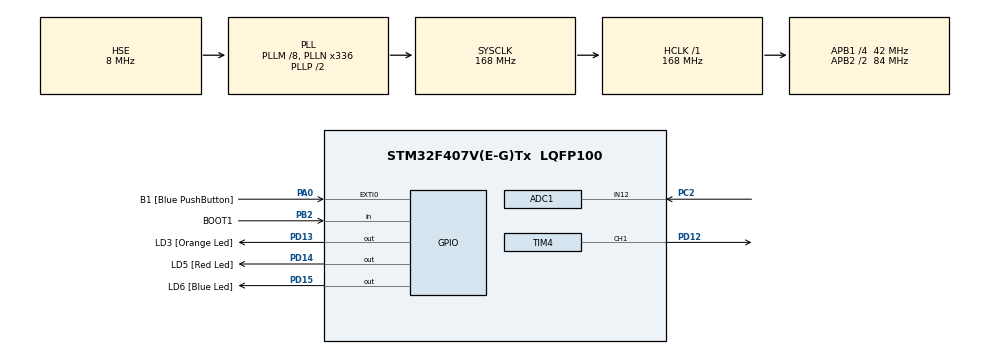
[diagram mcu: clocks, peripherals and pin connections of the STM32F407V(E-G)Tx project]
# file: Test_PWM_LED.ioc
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ADC1.Channel-0\#ChannelRegularConversion=ADC_CHANNEL_12
ADC1.NbrOfConversionFlag=1
ADC1.Rank-0\#ChannelRegularConversion=1
ADC1.SamplingTime-0\#ChannelRegularConversion=ADC_SAMPLETIME_3CYCLES
ADC1.master=1
Mcu.Family=STM32F4
Mcu.Name=STM32F407V(E-G)Tx
Mcu.Package=LQFP100
NVIC.PriorityGroup=NVIC_PRIORITYGROUP_0
NVIC.TIM1_UP_TIM10_IRQn=true\:0\:0\:false\:false\:true\:true\:true\:true
PA0-WKUP.GPIO_Label=B1 [Blue PushButton]
PA0-WKUP.GPIO_ModeDefaultEXTI=GPIO_MODE_EVT_RISING
PA0-WKUP.GPIO_PuPd=GPIO_NOPULL
PA0-WKUP.Signal=GPXTI0
PB2.GPIO_Label=BOOT1
PB2.GPIO_Mode=GPIO_MODE_INPUT
PB2.GPIO_PuPd=GPIO_NOPULL
PB2.Signal=GPIO_Input
PC14-OSC32_IN.GPIO_Label=PC14-OSC32_IN
PC14-OSC32_IN.Mode=LSE-External-Oscillator
PC14-OSC32_IN.Signal=RCC_OSC32_IN
PC15-OSC32_OUT.GPIO_Label=PC15-OSC32_OUT
PC15-OSC32_OUT.Mode=LSE-External-Oscillator
PC15-OSC32_OUT.Signal=RCC_OSC32_OUT
PC2.Signal=ADCx_IN12
PD12.Signal=S_TIM4_CH1
PD13.GPIO_Label=LD3 [Orange Led]
PD13.GPIO_PuPd=GPIO_NOPULL
PD13.GPIO_Speed=GPIO_SPEED_FREQ_LOW
PD13.Signal=GPIO_Output
PD14.GPIO_Label=LD5 [Red Led]
PD14.GPIO_PuPd=GPIO_NOPULL
PD14.GPIO_Speed=GPIO_SPEED_FREQ_LOW
PD14.Signal=GPIO_Output
PD15.GPIO_Label=LD6 [Blue Led]
PD15.GPIO_PuPd=GPIO_NOPULL
PD15.GPIO_Speed=GPIO_SPEED_FREQ_LOW
PD15.Signal=GPIO_Output
PH0-OSC_IN.GPIO_Label=PH0-OSC_IN
PH0-OSC_IN.Mode=HSE-External-Oscillator
PH0-OSC_IN.Signal=RCC_OSC_IN
PH1-OSC_OUT.GPIO_Label=PH1-OSC_OUT
PH1-OSC_OUT.Mode=HSE-External-Oscillator
PH1-OSC_OUT.Signal=RCC_OSC_OUT
ProjectManager.HeapSize=0x200
ProjectManager.StackSize=0x400
ProjectManager.TargetToolchain=STM32CubeIDE
RCC.48MHZClocksFreq_Value=48000000
RCC.AHBFreq_Value=168000000
RCC.APB1CLKDivider=RCC_HCLK_DIV4
RCC.APB1Freq_Value=42000000
RCC.APB1TimFreq_Value=84000000
RCC.APB2CLKDivider=RCC_HCLK_DIV2
RCC.APB2Freq_Value=84000000
RCC.APB2TimFreq_Value=168000000
RCC.CortexFreq_Value=168000000
RCC.HCLKFreq_Value=168000000
RCC.HSE_VALUE=8000000
RCC.HSI_VALUE=16000000
RCC.PLLM=8
RCC.PLLN=336
RCC.PLLQ=7
RCC.PLLSourceVirtual=RCC_PLLSOURCE_HSE
RCC.SYSCLKFreq_VALUE=168000000
RCC.SYSCLKSource=RCC_SYSCLKSOURCE_PLLCLK
RCC.VCOOutputFreq_Value=336000000
SH.ADCx_IN12.0=ADC1_IN12,IN12
SH.S_TIM4_CH1.0=TIM4_CH1,PWM Generation1 CH1
TIM1.Period=65535
TIM1.Prescaler=0
TIM4.Channel-PWM\ Generation1\ CH1=TIM_CHANNEL_1
TIM4.Period=999
TIM4.Prescaler=71
TIM4.Pulse-PWM\ Generation1\ CH1=499
VP_TIM1_VS_ClockSourceINT.Mode=Internal
VP_TIM4_VS_ClockSourceINT.Mode=Internal
board=STM32F407G-DISC1

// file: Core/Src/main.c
/* USER CODE BEGIN Header */
/**
  ******************************************************************************
  * @file           : main.c
  * @brief          : Main program body
  ******************************************************************************
  * @attention
  *
  * Copyright (c) 2023 STMicroelectronics.
  * All rights reserved.
  *
  * This software is licensed under terms that can be found in the LICENSE file
  * in the root directory of this software component.
  * If no LICENSE file comes with this software, it is provided AS-IS.
  *
  ******************************************************************************
  */
/* USER CODE END Header */
#include "main.h"

ADC_HandleTypeDef hadc1;

TIM_HandleTypeDef htim1;
TIM_HandleTypeDef htim4;

void SystemClock_Config(void);
static void MX_GPIO_Init(void);
static void MX_TIM1_Init(void);
static void MX_TIM4_Init(void);
static void MX_ADC1_Init(void);

/* USER CODE BEGIN 0 */
void delay_us (uint16_t us) //warning: this function is not reentrant
{
	__HAL_TIM_SET_COUNTER(&htim1,0); //reset the timer counter
	HAL_TIM_Base_Start(&htim1); //start the timer
	while (__HAL_TIM_GET_COUNTER(&htim1) < us);  // wait for the counter to reach the us value provided as an argument
	HAL_TIM_Base_Stop(&htim1); //stop the timer.
}

void HAL_TIM_PeriodElapsedCallback(TIM_HandleTypeDef *htim) {
	//change the duty cycle of TIM2 whenever the TIM1 interrupt occurs.
	static uint8_t dir = 0; //direction: are we currently increasing duty cycle or currently decreasing?
	uint32_t i = __HAL_TIM_GET_COMPARE(&htim4, TIM_CHANNEL_1); //the period is 1000. Duty cycle should vary between 0 and 1000.

	if(dir == 0) { //change duty cycle by changing "i" by 1 in the positive or negative direction
		i--;
		if(i == 0) {
			dir = 1;
		}
	} else {
		i++;
		if(i == 1000) {
			dir = 0;
		}

	}
	//update the PWM control register
	__HAL_TIM_SET_COMPARE(&htim4, TIM_CHANNEL_1, i);
}
/* USER CODE END 0 */

int main(void)
{

  /* MCU Configuration--------------------------------------------------------*/

  /* Reset of all peripherals, Initializes the Flash interface and the Systick. */
  HAL_Init();

  /* Configure the system clock */
  SystemClock_Config();

  /* Initialize all configured peripherals */
  MX_GPIO_Init();
  MX_TIM1_Init();
  MX_TIM4_Init();
  MX_ADC1_Init();
  /* USER CODE BEGIN 2 */
  HAL_TIM_Base_Start_IT(&htim1); //starts the timer
  HAL_TIM_PWM_Start(&htim4, TIM_CHANNEL_1); //enable PWM output on LED pin
  /* USER CODE END 2 */

  /* Infinite loop */
  while (1)
  {

  }
}

void SystemClock_Config(void)
{
  RCC_OscInitTypeDef RCC_OscInitStruct = {0};
  RCC_ClkInitTypeDef RCC_ClkInitStruct = {0};

  /** Configure the main internal regulator output voltage
  */
  __HAL_RCC_PWR_CLK_ENABLE();
  __HAL_PWR_VOLTAGESCALING_CONFIG(PWR_REGULATOR_VOLTAGE_SCALE1);

  /** Initializes the RCC Oscillators according to the specified parameters
  * in the RCC_OscInitTypeDef structure.
  */
  RCC_OscInitStruct.OscillatorType = RCC_OSCILLATORTYPE_HSE;
  RCC_OscInitStruct.HSEState = RCC_HSE_ON;
  RCC_OscInitStruct.PLL.PLLState = RCC_PLL_ON;
  RCC_OscInitStruct.PLL.PLLSource = RCC_PLLSOURCE_HSE;
  RCC_OscInitStruct.PLL.PLLM = 8;
  RCC_OscInitStruct.PLL.PLLN = 336;
  RCC_OscInitStruct.PLL.PLLP = RCC_PLLP_DIV2;
  RCC_OscInitStruct.PLL.PLLQ = 7;
  if (HAL_RCC_OscConfig(&RCC_OscInitStruct) != HAL_OK)
  {
    Error_Handler();
  }

  /** Initializes the CPU, AHB and APB buses clocks
  */
  RCC_ClkInitStruct.ClockType = RCC_CLOCKTYPE_HCLK|RCC_CLOCKTYPE_SYSCLK
                              |RCC_CLOCKTYPE_PCLK1|RCC_CLOCKTYPE_PCLK2;
  RCC_ClkInitStruct.SYSCLKSource = RCC_SYSCLKSOURCE_PLLCLK;
  RCC_ClkInitStruct.AHBCLKDivider = RCC_SYSCLK_DIV1;
  RCC_ClkInitStruct.APB1CLKDivider = RCC_HCLK_DIV4;
  RCC_ClkInitStruct.APB2CLKDivider = RCC_HCLK_DIV2;

  if (HAL_RCC_ClockConfig(&RCC_ClkInitStruct, FLASH_LATENCY_5) != HAL_OK)
  {
    Error_Handler();
  }
}

static void MX_ADC1_Init(void)
{

  ADC_ChannelConfTypeDef sConfig = {0};

  /** Configure the global features of the ADC (Clock, Resolution, Data Alignment and number of conversion)
  */
  hadc1.Instance = ADC1;
  hadc1.Init.ClockPrescaler = ADC_CLOCK_SYNC_PCLK_DIV4;
  hadc1.Init.Resolution = ADC_RESOLUTION_12B;
  hadc1.Init.ScanConvMode = DISABLE;
  hadc1.Init.ContinuousConvMode = DISABLE;
  hadc1.Init.DiscontinuousConvMode = DISABLE;
  hadc1.Init.ExternalTrigConvEdge = ADC_EXTERNALTRIGCONVEDGE_NONE;
  hadc1.Init.ExternalTrigConv = ADC_SOFTWARE_START;
  hadc1.Init.DataAlign = ADC_DATAALIGN_RIGHT;
  hadc1.Init.NbrOfConversion = 1;
  hadc1.Init.DMAContinuousRequests = DISABLE;
  hadc1.Init.EOCSelection = ADC_EOC_SINGLE_CONV;
  if (HAL_ADC_Init(&hadc1) != HAL_OK)
  {
    Error_Handler();
  }

  /** Configure for the selected ADC regular channel its corresponding rank in the sequencer and its sample time.
  */
  sConfig.Channel = ADC_CHANNEL_12;
  sConfig.Rank = 1;
  sConfig.SamplingTime = ADC_SAMPLETIME_3CYCLES;
  if (HAL_ADC_ConfigChannel(&hadc1, &sConfig) != HAL_OK)
  {
    Error_Handler();
  }

}

static void MX_TIM1_Init(void)
{

  TIM_ClockConfigTypeDef sClockSourceConfig = {0};
  TIM_MasterConfigTypeDef sMasterConfig = {0};

  htim1.Instance = TIM1;
  htim1.Init.Prescaler = 0;
  htim1.Init.CounterMode = TIM_COUNTERMODE_UP;
  htim1.Init.Period = 65535;
  htim1.Init.ClockDivision = TIM_CLOCKDIVISION_DIV1;
  htim1.Init.RepetitionCounter = 0;
  htim1.Init.AutoReloadPreload = TIM_AUTORELOAD_PRELOAD_DISABLE;
  if (HAL_TIM_Base_Init(&htim1) != HAL_OK)
  {
    Error_Handler();
  }
  sClockSourceConfig.ClockSource = TIM_CLOCKSOURCE_INTERNAL;
  if (HAL_TIM_ConfigClockSource(&htim1, &sClockSourceConfig) != HAL_OK)
  {
    Error_Handler();
  }
  sMasterConfig.MasterOutputTrigger = TIM_TRGO_RESET;
  sMasterConfig.MasterSlaveMode = TIM_MASTERSLAVEMODE_DISABLE;
  if (HAL_TIMEx_MasterConfigSynchronization(&htim1, &sMasterConfig) != HAL_OK)
  {
    Error_Handler();
  }

}

static void MX_TIM4_Init(void)
{

  TIM_ClockConfigTypeDef sClockSourceConfig = {0};
  TIM_MasterConfigTypeDef sMasterConfig = {0};
  TIM_OC_InitTypeDef sConfigOC = {0};

  htim4.Instance = TIM4;
  htim4.Init.Prescaler = 71;
  htim4.Init.CounterMode = TIM_COUNTERMODE_UP;
  htim4.Init.Period = 999;
  htim4.Init.ClockDivision = TIM_CLOCKDIVISION_DIV1;
  htim4.Init.AutoReloadPreload = TIM_AUTORELOAD_PRELOAD_DISABLE;
  if (HAL_TIM_Base_Init(&htim4) != HAL_OK)
  {
    Error_Handler();
  }
  sClockSourceConfig.ClockSource = TIM_CLOCKSOURCE_INTERNAL;
  if (HAL_TIM_ConfigClockSource(&htim4, &sClockSourceConfig) != HAL_OK)
  {
    Error_Handler();
  }
  if (HAL_TIM_PWM_Init(&htim4) != HAL_OK)
  {
    Error_Handler();
  }
  sMasterConfig.MasterOutputTrigger = TIM_TRGO_RESET;
  sMasterConfig.MasterSlaveMode = TIM_MASTERSLAVEMODE_DISABLE;
  if (HAL_TIMEx_MasterConfigSynchronization(&htim4, &sMasterConfig) != HAL_OK)
  {
    Error_Handler();
  }
  sConfigOC.OCMode = TIM_OCMODE_PWM1;
  sConfigOC.Pulse = 499;
  sConfigOC.OCPolarity = TIM_OCPOLARITY_HIGH;
  sConfigOC.OCFastMode = TIM_OCFAST_DISABLE;
  if (HAL_TIM_PWM_ConfigChannel(&htim4, &sConfigOC, TIM_CHANNEL_1) != HAL_OK)
  {
    Error_Handler();
  }
  HAL_TIM_MspPostInit(&htim4);

}

static void MX_GPIO_Init(void)
{
  GPIO_InitTypeDef GPIO_InitStruct = {0};

  /* GPIO Ports Clock Enable */
  __HAL_RCC_GPIOC_CLK_ENABLE();
  __HAL_RCC_GPIOH_CLK_ENABLE();
  __HAL_RCC_GPIOA_CLK_ENABLE();
  __HAL_RCC_GPIOB_CLK_ENABLE();
  __HAL_RCC_GPIOD_CLK_ENABLE();

  /*Configure GPIO pin Output Level */
  HAL_GPIO_WritePin(GPIOD, LD3_Pin|LD5_Pin|LD6_Pin, GPIO_PIN_RESET);

  /*Configure GPIO pin : B1_Pin */
  GPIO_InitStruct.Pin = B1_Pin;
  GPIO_InitStruct.Mode = GPIO_MODE_EVT_RISING;
  GPIO_InitStruct.Pull = GPIO_NOPULL;
  HAL_GPIO_Init(B1_GPIO_Port, &GPIO_InitStruct);

  /*Configure GPIO pin : BOOT1_Pin */
  GPIO_InitStruct.Pin = BOOT1_Pin;
  GPIO_InitStruct.Mode = GPIO_MODE_INPUT;
  GPIO_InitStruct.Pull = GPIO_NOPULL;
  HAL_GPIO_Init(BOOT1_GPIO_Port, &GPIO_InitStruct);

  /*Configure GPIO pins : LD3_Pin LD5_Pin LD6_Pin */
  GPIO_InitStruct.Pin = LD3_Pin|LD5_Pin|LD6_Pin;
  GPIO_InitStruct.Mode = GPIO_MODE_OUTPUT_PP;
  GPIO_InitStruct.Pull = GPIO_NOPULL;
  GPIO_InitStruct.Speed = GPIO_SPEED_FREQ_LOW;
  HAL_GPIO_Init(GPIOD, &GPIO_InitStruct);

}

void Error_Handler(void)
{
  __disable_irq();
  while (1)
  {
  }
}
